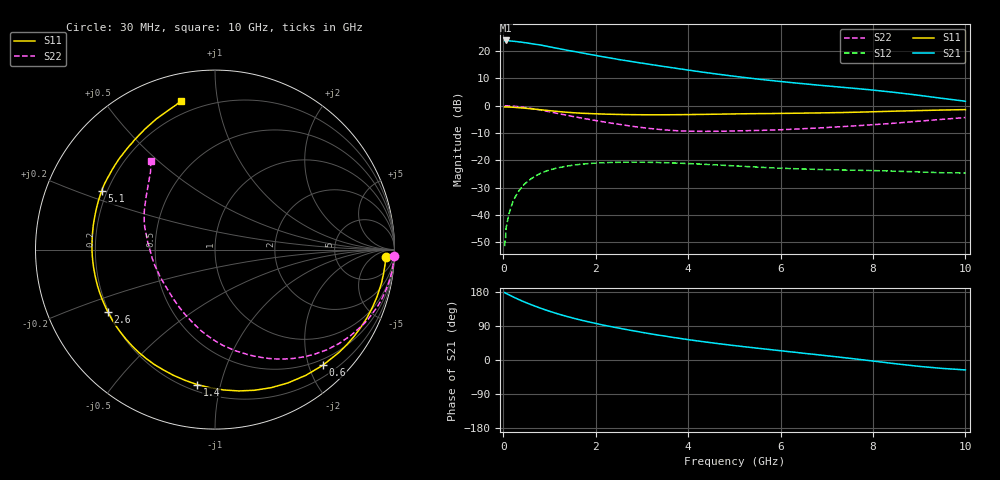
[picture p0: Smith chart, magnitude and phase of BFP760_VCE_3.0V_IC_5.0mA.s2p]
! Infineon Technologies  Discrete & RF Semiconductors
! BFP760
! VCE =  3.0 V,  IC =  5.0 mA
! Common Emitter S-Parameters:  Nov 2012
# GHz  S  MA  R  50
!  f  S11  S21  S12  S22
! GHz  MAG  ANG  MAG  ANG  MAG  ANG  MAG  ANG
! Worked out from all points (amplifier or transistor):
!   99 points, 30 MHz to 10 GHz, reference 50 ohm
!   highest |S21| = 23.9 dB at 50 MHz (marker M1)
!   |S21| within 3 dB of that: start of sweep to 1.207 GHz
!   unconditionally stable (mu >= 1): 6.215 GHz to end of sweep
!   at 350 MHz: K = 0.08, MSG = 27.1 dB, |S12| = -30.9 dB
!   at 3.5 GHz: K = 0.48, MSG = 17.6 dB, |S12| = -20.8 dB
!   at 10 GHz: K = 1.31, MAG = 9.8 dB, |S12| = -24.6 dB
!   S11 on the Smith chart (normalised r, x): 30 MHz: 22, -20; 600 MHz: 0.39, -2.24; 1.4 GHz: 0.24, -0.85; 2.6 GHz: 0.20, -0.26; 5.1 GHz: 0.18, +0.24; 10 GHz: 0.13, +0.79
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0.03  0.9525 -2.6  15.41 177.9  0.0027 87.4  0.999 -1.9
0.04  0.9527 -3.4  15.42 177.5  0.0033 87.3  0.9986 -2.5
0.05  0.9509 -4.1  15.65 176.3  0.0038 92.1  0.9962 -2.9
0.06  0.9513 -5.0  15.56 175.8  0.0058 84.1  0.9972 -3.5
0.12  0.9467 -9.9  15.46 172.2  0.0102 84.2  0.9937 -6.9
0.3  0.928 -24.3  14.9 161.6  0.0247 75.4  0.9682 -16.9
0.4  0.9131 -32.1  14.57 156.2  0.0322 70.5  0.9454 -22.3
0.6  0.881 -47.0  13.71 146.2  0.0459 61.8  0.8946 -32.4
0.8  0.8465 -61.4  12.95 137.0  0.0576 53.5  0.837 -41.8
0.9  0.8304 -67.9  12.46 132.8  0.0624 49.8  0.8059 -46.2
1.1  0.7986 -80.4  11.54 124.9  0.0704 42.9  0.7453 -54.5
1.4  0.7584 -97.6  10.3 114.2  0.0793 34.4  0.6643 -65.4
1.7  0.7293 -113.2  9.273 104.8  0.0853 27.4  0.5942 -75.3
2.1  0.7079 -130.8  8.033 93.8  0.0903 19.1  0.5196 -88.0
2.6  0.6912 -149.6  6.807 81.8  0.0926 10.9  0.4443 -102.6
3  0.685 -162.7  6.02 73.0  0.0926 5.3  0.3992 -114.3
3.4  0.6839 -174.4  5.346 64.9  0.0913 0.5  0.3675 -126.0
4.1  0.6915 168.9  4.378 52.1  0.087 -6.1  0.3419 -145.5
5.1  0.7113 152.6  3.382 36.7  0.0788 -11.6  0.3475 -166.2
6.7  0.7375 135.6  2.434 15.3  0.0689 -13.1  0.3877 169.4
8.5  0.7976 114.3  1.745 -10.1  0.0635 -13.2  0.4819 142.9
10  0.8506 102.7  1.211 -26.2  0.0589 -9.0  0.6078 126.1
